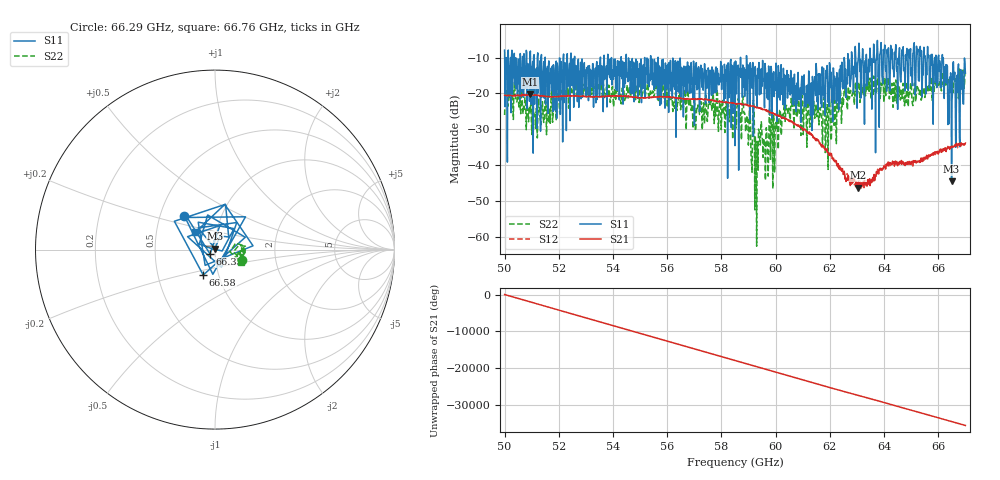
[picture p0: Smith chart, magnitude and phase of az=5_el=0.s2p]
!Created with skrf (http://scikit-rf.org).
# GHz S RI R 50.0
!freq ReS11 ImS11 ReS21 ImS21 ReS12 ImS12 ReS22 ImS22
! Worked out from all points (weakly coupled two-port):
!   1001 points, 50 GHz to 67 GHz, reference 50 ohm
!   highest |S21| = -20.23 dB at 50.94 GHz (marker M1); lowest = -46.3 dB at 63.04 GHz (marker M2)
!   lowest |S11| = -44.5 dB at 66.49 GHz (marker M3), VSWR 1.01, Z = 50 + j0.597 ohm
!   |S11| at or under -10 dB: 52.58 GHz to 53.53 GHz (950 MHz wide, 1.79 % of centre); 55.66 GHz to 58.7 GHz (3.042 GHz wide, 5.32 % of centre); 58.93 GHz to 62.53 GHz (3.601 GHz wide, 5.93 % of centre) (the widest 3 of 63)
!   |S22| runs from -62.6 to -13.2 dB; largest |S21 - S12| = 0.0023
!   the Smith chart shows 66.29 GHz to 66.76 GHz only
!   S11 on the Smith chart (normalised r, x): 66.29 GHz: 0.67, +0.27; 66.35 GHz: 0.95, -0.05; 66.58 GHz: 0.84, -0.25; 66.76 GHz: 0.79, +0.16
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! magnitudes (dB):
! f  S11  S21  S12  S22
! 50 GHz  -7.9  -20.5  -20.5  -26.0
! 50.15 GHz  -21.0  -20.7  -20.7  -21.7
! 50.94 GHz  -8.6  -20.2  -20.3  -25.1
! 52.84 GHz  -12.1  -20.8  -20.8  -19.7
! 55.68 GHz  -13.1  -21.0  -21.0  -22.0
! 58.5 GHz  -34.6  -22.8  -22.7  -23.6
! 59.11 GHz  -13.1  -23.5  -23.5  -39.5
! 59.32 GHz  -23.8  -24.0  -23.8  -33.4
! 59.4 GHz  -20.4  -24.1  -24.1  -30.8
! 59.66 GHz  -15.3  -24.9  -24.6  -29.6
! 60.34 GHz  -14.9  -26.9  -26.9  -25.0
! 61.34 GHz  -30.3  -31.6  -31.7  -26.9
! 62 GHz  -12.1  -37.2  -36.9  -23.5
! 63.04 GHz  -10.8  -46.3  -45.6  -19.4
! 64.18 GHz  -11.8  -39.2  -40.0  -17.4
! 65.56 GHz  -11.5  -37.7  -38.2  -19.5
! 66.29 GHz  -12.0  -36.2  -36.0  -16.0
! 66.35 GHz  -28.7  -35.1  -34.8  -15.7
! 66.49 GHz  -44.5  -35.1  -34.8  -15.5
! 66.58 GHz  -16.1  -34.7  -34.5  -15.8
! 66.76 GHz  -16.7  -34.3  -34.4  -16.0
! 67 GHz  -14.4  -33.9  -33.8  -14.5
